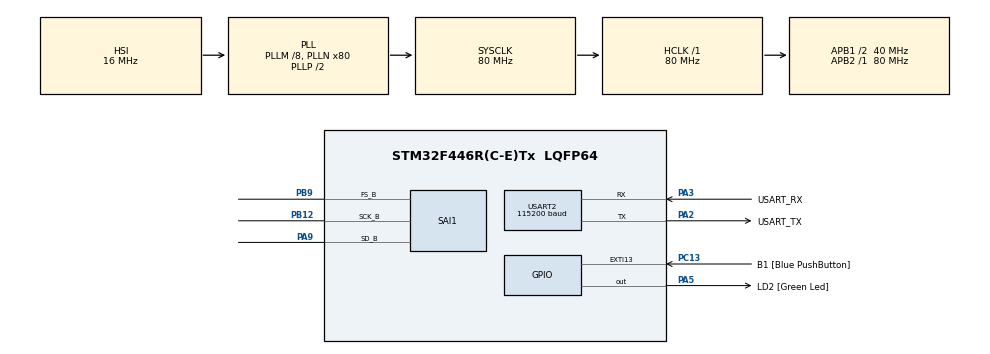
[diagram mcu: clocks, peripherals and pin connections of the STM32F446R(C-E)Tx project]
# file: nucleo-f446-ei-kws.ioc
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Dma.Request0=SAI1_B
Dma.SAI1_B.0.Direction=DMA_PERIPH_TO_MEMORY
Dma.SAI1_B.0.FIFOMode=DMA_FIFOMODE_DISABLE
Dma.SAI1_B.0.Instance=DMA2_Stream4
Dma.SAI1_B.0.MemDataAlignment=DMA_MDATAALIGN_WORD
Dma.SAI1_B.0.MemInc=DMA_MINC_ENABLE
Dma.SAI1_B.0.Mode=DMA_CIRCULAR
Dma.SAI1_B.0.PeriphDataAlignment=DMA_PDATAALIGN_WORD
Dma.SAI1_B.0.PeriphInc=DMA_PINC_DISABLE
Dma.SAI1_B.0.Priority=DMA_PRIORITY_LOW
Mcu.Family=STM32F4
Mcu.Name=STM32F446R(C-E)Tx
Mcu.Package=LQFP64
NVIC.DMA2_Stream4_IRQn=true\:0\:0\:false\:false\:true\:false\:true
NVIC.PriorityGroup=NVIC_PRIORITYGROUP_4
PA13.GPIO_Label=TMS
PA13.Mode=Serial_Wire
PA13.Signal=SYS_JTMS-SWDIO
PA14.GPIO_Label=TCK
PA14.Mode=Serial_Wire
PA14.Signal=SYS_JTCK-SWCLK
PA2.GPIO_Label=USART_TX
PA2.Mode=Asynchronous
PA2.Signal=USART2_TX
PA3.GPIO_Label=USART_RX
PA3.Mode=Asynchronous
PA3.Signal=USART2_RX
PA5.GPIO_Label=LD2 [Green Led]
PA5.Signal=GPIO_Output
PA9.Mode=SAI_B_Master
PA9.Signal=SAI1_SD_B
PB12.Mode=SAI_B_Master
PB12.Signal=SAI1_SCK_B
PB3.GPIO_Label=SWO
PB3.Signal=SYS_JTDO-SWO
PB9.Mode=SAI_B_Master
PB9.Signal=SAI1_FS_B
PC13.GPIO_Label=B1 [Blue PushButton]
PC13.GPIO_ModeDefaultEXTI=GPIO_MODE_IT_FALLING
PC13.Signal=GPXTI13
PC14-OSC32_IN.Mode=LSE-External-Oscillator
PC14-OSC32_IN.Signal=RCC_OSC32_IN
PC15-OSC32_OUT.Mode=LSE-External-Oscillator
PC15-OSC32_OUT.Signal=RCC_OSC32_OUT
PH0-OSC_IN.Mode=HSE-External-Oscillator
PH0-OSC_IN.Signal=RCC_OSC_IN
PH1-OSC_OUT.Mode=HSE-External-Oscillator
PH1-OSC_OUT.Signal=RCC_OSC_OUT
ProjectManager.HeapSize=0x200
ProjectManager.StackSize=0x400
ProjectManager.TargetToolchain=MDK-ARM V5.27
RCC.48MHZClocksFreq_Value=84000000
RCC.AHBFreq_Value=80000000
RCC.APB1CLKDivider=RCC_HCLK_DIV2
RCC.APB1Freq_Value=40000000
RCC.APB1TimFreq_Value=80000000
RCC.APB2Freq_Value=80000000
RCC.APB2TimFreq_Value=80000000
RCC.CortexFreq_Value=80000000
RCC.FLatency-AdvancedSettings=FLASH_LATENCY_2
RCC.HCLKFreq_Value=80000000
RCC.HSE_VALUE=8000000
RCC.HSI_VALUE=16000000
RCC.PLLM=8
RCC.PLLN=80
RCC.PLLSAIM=8
RCC.PLLSAIN=50
RCC.SYSCLKFreq_VALUE=80000000
RCC.SYSCLKSource=RCC_SYSCLKSOURCE_PLLCLK
RCC.USBFreq_Value=80000000
RCC.VCOOutputFreq_Value=160000000
SAI1.AudioFrequency-SAI_B_Master=SAI_AUDIO_FREQUENCY_32K
SAI1.AudioMode-SAI_B_Master=SAI_MODEMASTER_RX
SAI1.BasicDataSize-SAI_B_Master=SAI_PROTOCOL_DATASIZE_24BIT
SAI1.ErrorAudioFreq-SAI_B_Master=1.72 %
SAI1.InitProtocol-SAI_B_Master=Enable
SAI1.Instance-SAI_B_Master=SAI$Index_Block_B
SAI1.MClockEnable-SAI_B_Master=SAI_MASTERCLOCK_DISABLE
SAI1.RealAudioFreq-SAI_B_Master=32.552 KHz
SAI1.VirtualMode-SAI_B_Master=VM_MASTER
SAI1.VirtualProtocol-SAI_B_BASIC=VM_BASIC_PROTOCOL
USART2.BaudRate=115200
USART2.VirtualMode=VM_ASYNC
VP_CRC_VS_CRC.Mode=CRC_Activate
VP_SAI1_VP_$IpInstance_SAIB_SAI_BASIC.Mode=SAI_B_BASIC
board=NUCLEO-F446RE

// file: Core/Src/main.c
/* USER CODE BEGIN Header */
/**
  ******************************************************************************
  * @file           : main.c
  * @brief          : Main program body
  ******************************************************************************
  * @attention
  *
  * <h2><center>&copy; Copyright (c) 2021 STMicroelectronics.
  * All rights reserved.</center></h2>
  *
  * This software component is licensed by ST under BSD 3-Clause license,
  * the "License"; You may not use this file except in compliance with the
  * License. You may obtain a copy of the License at:
  *                        opensource.org/licenses/BSD-3-Clause
  *
  ******************************************************************************
  */
/* USER CODE END Header */
#include "main.h"

/* USER CODE BEGIN Includes */
#include <stdarg.h>
#include <stdio.h>
#include <stdint.h>
#include <stdbool.h>
#include <string.h>
#include <math.h>

#define ENABLE_SAI 1

/* USER CODE END Includes */

/* USER CODE BEGIN PD */

#define I2S_BUF_LEN 6400  // 4x desired size to downsample and throw out 1 ch
#define I2S_BUF_SKIP 4    // (2x L/R ch) * (2x sample rate)

/* USER CODE END PD */

CRC_HandleTypeDef hcrc;

SAI_HandleTypeDef hsai_BlockB1;
DMA_HandleTypeDef hdma_sai1_b;

UART_HandleTypeDef huart2;

/* USER CODE BEGIN PV */
// Globals
uint32_t i2s_buf[I2S_BUF_LEN];
static bool record_ready = false;
/* USER CODE END PV */

void SystemClock_Config(void);
static void MX_GPIO_Init(void);
static void MX_DMA_Init(void);
static void MX_USART2_UART_Init(void);
static void MX_CRC_Init(void);
static void MX_SAI1_Init(void);
/* USER CODE BEGIN PFP */
static void audio_buffer_inference_callback(uint32_t n_bytes, uint32_t offset);
bool ei_microphone_inference_end(void);
void ei_printf(const char *format, ...);
void vprint(const char *fmt, va_list argp);

/* USER CODE END PFP */

/* USER CODE BEGIN 0 */
#define BLOCK_SIZE_U16 4
uint8_t rxBuf[BLOCK_SIZE_U16*2];
uint8_t txBuf[BLOCK_SIZE_U16*2];
/* USER CODE END 0 */

int main(void)
{
  /* USER CODE BEGIN 1 */
	HAL_StatusTypeDef hal_res;

  /* USER CODE END 1 */

  /* MCU Configuration--------------------------------------------------------*/

  /* Reset of all peripherals, Initializes the Flash interface and the Systick. */
  HAL_Init();

  /* Configure the system clock */
  SystemClock_Config();

  /* Initialize all configured peripherals */
  MX_GPIO_Init();
  MX_DMA_Init();
  MX_USART2_UART_Init();
  MX_CRC_Init();
  MX_SAI1_Init();
  /* USER CODE BEGIN 2 */
  //Receiver
#if ENABLE_SAI
	//HAL_SAI_Receive(&hsai_BlockB1, rxBuf, BLOCK_SIZE_U16, 4);

  hal_res =  HAL_SAI_Receive_DMA(&hsai_BlockB1, (uint8_t *)i2s_buf, I2S_BUF_LEN);
  if (hal_res != HAL_OK)
  {
    ei_printf("ERROR: Could not initialize I2S microphone.\r\n");
  }
	/**/
#endif
  // Start doing inference
  record_ready = true;

  /* USER CODE END 2 */

  /* Infinite loop */
  /* USER CODE BEGIN WHILE */
	int i = 0;
  while (1)
  {
		//ei_printf("delay:%d\r\n", i++);
		HAL_GPIO_TogglePin(LD2_GPIO_Port, LD2_Pin);
		HAL_Delay(1000);
    /* USER CODE END WHILE */

    /* USER CODE BEGIN 3 */
  }

  ei_microphone_inference_end();
  /* USER CODE END 3 */
}

void SystemClock_Config(void)
{
  RCC_OscInitTypeDef RCC_OscInitStruct = {0};
  RCC_ClkInitTypeDef RCC_ClkInitStruct = {0};
  RCC_PeriphCLKInitTypeDef PeriphClkInitStruct = {0};

  /** Configure the main internal regulator output voltage
  */
  __HAL_RCC_PWR_CLK_ENABLE();
  __HAL_PWR_VOLTAGESCALING_CONFIG(PWR_REGULATOR_VOLTAGE_SCALE3);
  /** Initializes the RCC Oscillators according to the specified parameters
  * in the RCC_OscInitTypeDef structure.
  */
  RCC_OscInitStruct.OscillatorType = RCC_OSCILLATORTYPE_HSI;
  RCC_OscInitStruct.HSIState = RCC_HSI_ON;
  RCC_OscInitStruct.HSICalibrationValue = RCC_HSICALIBRATION_DEFAULT;
  RCC_OscInitStruct.PLL.PLLState = RCC_PLL_ON;
  RCC_OscInitStruct.PLL.PLLSource = RCC_PLLSOURCE_HSI;
  RCC_OscInitStruct.PLL.PLLM = 8;
  RCC_OscInitStruct.PLL.PLLN = 80;
  RCC_OscInitStruct.PLL.PLLP = RCC_PLLP_DIV2;
  RCC_OscInitStruct.PLL.PLLQ = 2;
  RCC_OscInitStruct.PLL.PLLR = 2;
  if (HAL_RCC_OscConfig(&RCC_OscInitStruct) != HAL_OK)
  {
    Error_Handler();
  }
  /** Initializes the CPU, AHB and APB buses clocks
  */
  RCC_ClkInitStruct.ClockType = RCC_CLOCKTYPE_HCLK|RCC_CLOCKTYPE_SYSCLK
                              |RCC_CLOCKTYPE_PCLK1|RCC_CLOCKTYPE_PCLK2;
  RCC_ClkInitStruct.SYSCLKSource = RCC_SYSCLKSOURCE_PLLCLK;
  RCC_ClkInitStruct.AHBCLKDivider = RCC_SYSCLK_DIV1;
  RCC_ClkInitStruct.APB1CLKDivider = RCC_HCLK_DIV2;
  RCC_ClkInitStruct.APB2CLKDivider = RCC_HCLK_DIV1;

  if (HAL_RCC_ClockConfig(&RCC_ClkInitStruct, FLASH_LATENCY_2) != HAL_OK)
  {
    Error_Handler();
  }
  PeriphClkInitStruct.PeriphClockSelection = RCC_PERIPHCLK_SAI1;
  PeriphClkInitStruct.PLLSAI.PLLSAIM = 8;
  PeriphClkInitStruct.PLLSAI.PLLSAIN = 50;
  PeriphClkInitStruct.PLLSAI.PLLSAIQ = 2;
  PeriphClkInitStruct.PLLSAI.PLLSAIP = RCC_PLLSAIP_DIV2;
  PeriphClkInitStruct.PLLSAIDivQ = 1;
  PeriphClkInitStruct.Sai1ClockSelection = RCC_SAI1CLKSOURCE_PLLSAI;
  if (HAL_RCCEx_PeriphCLKConfig(&PeriphClkInitStruct) != HAL_OK)
  {
    Error_Handler();
  }
}

static void MX_CRC_Init(void)
{

  hcrc.Instance = CRC;
  if (HAL_CRC_Init(&hcrc) != HAL_OK)
  {
    Error_Handler();
  }

}

static void MX_SAI1_Init(void)
{

  hsai_BlockB1.Instance = SAI1_Block_B;
  hsai_BlockB1.Init.AudioMode = SAI_MODEMASTER_RX;
  hsai_BlockB1.Init.Synchro = SAI_ASYNCHRONOUS;
  hsai_BlockB1.Init.OutputDrive = SAI_OUTPUTDRIVE_DISABLE;
  hsai_BlockB1.Init.NoDivider = SAI_MASTERDIVIDER_ENABLE;
  hsai_BlockB1.Init.FIFOThreshold = SAI_FIFOTHRESHOLD_EMPTY;
  hsai_BlockB1.Init.ClockSource = SAI_CLKSOURCE_NA;
  hsai_BlockB1.Init.AudioFrequency = SAI_AUDIO_FREQUENCY_32K;
  hsai_BlockB1.Init.SynchroExt = SAI_SYNCEXT_DISABLE;
  hsai_BlockB1.Init.MonoStereoMode = SAI_STEREOMODE;
  hsai_BlockB1.Init.CompandingMode = SAI_NOCOMPANDING;
  if (HAL_SAI_InitProtocol(&hsai_BlockB1, SAI_I2S_STANDARD, SAI_PROTOCOL_DATASIZE_24BIT, 2) != HAL_OK)
  {
    Error_Handler();
  }

}

static void MX_USART2_UART_Init(void)
{

  huart2.Instance = USART2;
  huart2.Init.BaudRate = 115200;
  huart2.Init.WordLength = UART_WORDLENGTH_8B;
  huart2.Init.StopBits = UART_STOPBITS_1;
  huart2.Init.Parity = UART_PARITY_NONE;
  huart2.Init.Mode = UART_MODE_TX_RX;
  huart2.Init.HwFlowCtl = UART_HWCONTROL_NONE;
  huart2.Init.OverSampling = UART_OVERSAMPLING_16;
  if (HAL_UART_Init(&huart2) != HAL_OK)
  {
    Error_Handler();
  }

}

static void MX_DMA_Init(void)
{

  /* DMA controller clock enable */
  __HAL_RCC_DMA2_CLK_ENABLE();

  /* DMA interrupt init */
  /* DMA2_Stream4_IRQn interrupt configuration */
  HAL_NVIC_SetPriority(DMA2_Stream4_IRQn, 0, 0);
  HAL_NVIC_EnableIRQ(DMA2_Stream4_IRQn);

}

static void MX_GPIO_Init(void)
{
  GPIO_InitTypeDef GPIO_InitStruct = {0};

  /* GPIO Ports Clock Enable */
  __HAL_RCC_GPIOC_CLK_ENABLE();
  __HAL_RCC_GPIOH_CLK_ENABLE();
  __HAL_RCC_GPIOA_CLK_ENABLE();
  __HAL_RCC_GPIOB_CLK_ENABLE();

  /*Configure GPIO pin Output Level */
  HAL_GPIO_WritePin(LD2_GPIO_Port, LD2_Pin, GPIO_PIN_RESET);

  /*Configure GPIO pin : B1_Pin */
  GPIO_InitStruct.Pin = B1_Pin;
  GPIO_InitStruct.Mode = GPIO_MODE_IT_FALLING;
  GPIO_InitStruct.Pull = GPIO_NOPULL;
  HAL_GPIO_Init(B1_GPIO_Port, &GPIO_InitStruct);

  /*Configure GPIO pin : LD2_Pin */
  GPIO_InitStruct.Pin = LD2_Pin;
  GPIO_InitStruct.Mode = GPIO_MODE_OUTPUT_PP;
  GPIO_InitStruct.Pull = GPIO_NOPULL;
  GPIO_InitStruct.Speed = GPIO_SPEED_FREQ_LOW;
  HAL_GPIO_Init(LD2_GPIO_Port, &GPIO_InitStruct);

}

/* USER CODE BEGIN 4 */

/**
 * @brief      Stop audio sampling, release sampling buffers
 *
 * @return     false on error
 */
bool ei_microphone_inference_end(void)
{
  // Stop I2S
  HAL_SAI_DMAStop(&hsai_BlockB1);

  // Free up double buffer
  record_ready = false;

  return true;
}

/**
 * @brief      Copy sample data in selected buf and signal ready when buffer is full
 *
 * @param[in]  n_bytes  Number of bytes to copy
 * @param[in]  offset   offset in sampleBuffer
 */
static void audio_buffer_inference_callback(uint32_t n_bytes, uint32_t offset)
{
  // Copy samples from I2S buffer to inference buffer. Convert 24-bit, 32kHz
  // samples to 16-bit, 16kHz
  int maxValue = 0;
	for (uint32_t i = 0; i < (n_bytes >> 1); i++) {
    int16_t value = (int16_t)(i2s_buf[offset + (I2S_BUF_SKIP * i)] >> 8);
		if (fabs(value) > fabs(maxValue)) {
			maxValue = value;
		}
		//ei_printf("%d,%d,%d\r\n", 256*128, -256*128, value);
	}
	ei_printf("%d,%d,%d\r\n", 256 * 8, -256 * 8, maxValue);
}

/**
 * Get raw audio signal data
 */
/**
 * Low-level print function that uses UART to print status messages.
 */
void vprint(const char *fmt, va_list argp)
{
  char string[200];
  if(0 < vsprintf(string, fmt, argp)) // build string
  {
      HAL_UART_Transmit(&huart2, (uint8_t*)string, strlen(string), 0xffffff);
  }
}

/**
 * Wrapper for vprint. Use this like you would printf to print messages to the serial console.
 */
void ei_printf(const char *format, ...)
{
  va_list myargs;
  va_start(myargs, format);
  vprint(format, myargs);
  va_end(myargs);
}

#if 1
/**
 * Called when the first half of the receive buffer is full
 */
void HAL_SAI_RxHalfCpltCallback(SAI_HandleTypeDef *hsai)
{
		//restore signed 24 bit sample from 16-bit buffers
		int lSample = (int) (rxBuf[0]<<16) | rxBuf[1];
		int rSample = (int) (rxBuf[2]<<16) | rxBuf[3];

		lSample = lSample << 1; //amplify sound
		rSample = lSample; // because there is one mic only

		//sum to mono
		lSample = rSample + lSample;
		rSample = lSample;

  if (record_ready == true)
  {
    audio_buffer_inference_callback(I2S_BUF_LEN / I2S_BUF_SKIP, 0);
  }
}
#endif

#if 1
/**
 * Called when the second half of the receive buffer is full
 */
void HAL_SAI_RxCpltCallback(SAI_HandleTypeDef *hsai)
{
	//restore signed 24 bit sample from 16-bit buffers
			int lSample = (int) (rxBuf[4]<<16) | rxBuf[5];
			int rSample = (int) (rxBuf[6]<<16) | rxBuf[7];

			lSample = lSample << 1; //amplify sound
		    rSample = lSample; // because there is one mic only

			//sum to mono
			lSample = rSample + lSample;
			rSample = lSample;

  if (record_ready == true)
  {
    audio_buffer_inference_callback(I2S_BUF_LEN / I2S_BUF_SKIP, I2S_BUF_LEN >> 1);
  }
}
#endif

/* USER CODE END 4 */

void Error_Handler(void)
{
  __disable_irq();
  while (1)
  {
  }
}

/************************ (C) COPYRIGHT STMicroelectronics *****END OF FILE****/
